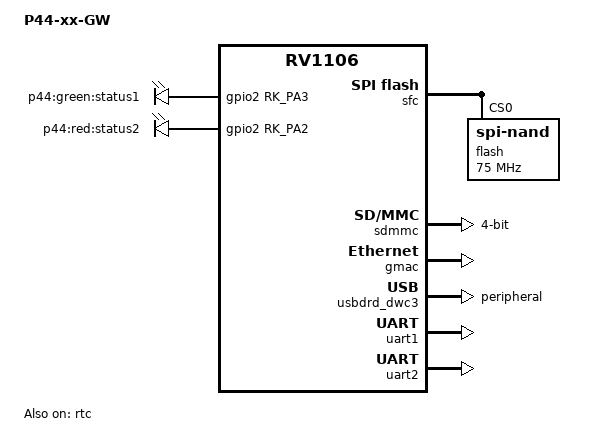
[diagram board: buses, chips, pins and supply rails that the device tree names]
// SPDX-License-Identifier: (GPL-2.0+ OR MIT)
/*
 * Copyright (c) 2022 Rockchip Electronics Co., Ltd.
 */

/dts-v1/;

#include "rv1106.dtsi"
#include "rv1106-evb.dtsi"
#include "rv1106-luckfox-pico-pro-max-ipc.dtsi"

/ {
	model = "P44-xx-GW";
	compatible = "plan44,p44-xx-pico-max", "luckfox,rv1106-luckfox-pico-max", "rockchip,rv1106";

	leds {
		compatible = "gpio-leds";

		status1 {
			label = "p44:green:status1";
			gpios = <&gpio2 RK_PA3 GPIO_ACTIVE_HIGH>;
			default-state = "on";
		};

		status2 {
			label = "p44:red:status2";
			gpios = <&gpio2 RK_PA2 GPIO_ACTIVE_HIGH>;
			default-state = "on";
		};

	};

};



/**********FLASH**********/
&sfc {
	status = "okay";
	flash@0 {
		compatible = "spi-nand";
		reg = <0>;
		spi-max-frequency = <75000000>;
		spi-rx-bus-width = <4>;
		spi-tx-bus-width = <1>;
	};
};

/**********SDMMC**********/
&sdmmc {
	max-frequency = <50000000>;
	no-sdio;
	no-mmc;
	bus-width = <4>;
	cap-mmc-highspeed;
	cap-sd-highspeed;
	disable-wp;
	pinctrl-names = "default";
	pinctrl-0 = <&sdmmc0_clk &sdmmc0_cmd &sdmmc0_det &sdmmc0_bus4>;
	status = "okay";
};

/**********SDIO**********/
// &sdio {
// 	max-frequency = <50000000>;
// 	no-sdio;
// 	no-mmc;
// 	bus-width = <4>;
// 	cap-mmc-highspeed;
// 	cap-sd-highspeed;
// 	disable-wp;
// 	pinctrl-names = "default";
// 	pinctrl-0 = <&sdmmc1m0_cmd &sdmmc1m0_clk &sdmmc1m0_bus4 &clk_32k>;
// 	status = "okay";
// };

/**********ETH**********/
&gmac {
	status = "okay";
};

/**********USB**********/
&usbdrd_dwc3 {
	status = "okay";
	dr_mode = "peripheral";
};

/**********I2C**********/
// i2c1 is available on p44mini-xx-gw Grove J17 (M1) -> disabled here, can be enabled with overlays
// &i2c1 {
// 	status = "okay";
// 	pinctrl-0 = <&i2c1m1_xfer>;
// 	clock-frequency = <100000>;
// };

// i2c3 is available on p44mini-xx-gw at Grove J16 (M0) or UEXT (M1) -> disabled here, can be enabled with overlays
// &i2c3 {
// 	status = "okay";
// 	pinctrl-0 = <&i2c3m1_xfer>;
// 	clock-frequency = <100000>;
// };

// /**********SPI**********/
// spi0 is available on p44mini-xx-gw at UEXT (M0) -> disabled here, can be enabled with overlays
// &spi0 {
// 	status = "okay";
// 	pinctrl-names = "default";
// 	pinctrl-0 = <&spi0m0_pins>;
// 	cs-gpios = <&gpio1 RK_PC0 1>;
// 	// cs-gpios = <&gpio1 26 1>;
// 	#address-cells = <1>;
// 	#size-cells = <0>;
// 	spidev@0 {
// 		compatible = "rockchip,spidev";
// 		spi-max-frequency = <50000000>;
// 		reg = <0>;
// 	};
// };



/**********UART**********/

// &uart0 {
// 	status = "okay";
// 	pinctrl-names = "default";
// 	pinctrl-0 = <&uart0m1_xfer>;
// };

// for now, enable this to always the option for LED output on J11 or RS485 on J14
&uart1 {
	status = "okay";
	pinctrl-names = "default";
	pinctrl-0 = <&uart1m1_xfer>;
};

// SoC debug UART
&uart2 {
	status = "okay";
	pinctrl-names = "default";
	pinctrl-0 = <&uart2m1_xfer>;
};


// other UARTs must be enabled via overlays when needed
// &uart3 {
// 	status = "okay";
// 	pinctrl-names = "default";
// 	pinctrl-0 = <&uart3m1_xfer>;
// };
// &uart4 {
// 	status = "okay";
// 	pinctrl-names = "default";
// 	pinctrl-0 = <&uart4m1_xfer>;
// };


// /**********PWM**********/

// &pwm0 {
// 	status = "okay";
// 	pinctrl-names = "active";
// 	pinctrl-0 = <&pwm0m0_pins>;
// 	// pinctrl-0 = <&pwm0m1_pins>;
// };
// &pwm1 {
// 	status = "okay";
// 	pinctrl-names = "active";
// 	pinctrl-0 = <&pwm1m0_pins>;
// 	// pinctrl-0 = <&pwm1m1_pins>;
// };

//&pwm2 {
//	status = "okay";
//	pinctrl-names = "active";
//	pinctrl-0 = <&pwm2m2_pins>;
//};
//&pwm3 {
//	status = "okay";
//	pinctrl-names = "active";
//	pinctrl-0 = <&pwm3m2_pins>;
//};
//&pwm4 {
//	status = "okay";
//	pinctrl-names = "active";
//	pinctrl-0 = <&pwm4m2_pins>;
//};

// when needed, enable via overlays
// &pwm5 {
// 	status = "okay";
// 	pinctrl-names = "active";
// 	pinctrl-0 = <&pwm5m1_pins>;
// 	// pinctrl-0 = <&pwm5m2_pins>;
// };
// &pwm6 {
// 	status = "okay";
// 	pinctrl-names = "active";
// 	pinctrl-0 = <&pwm6m1_pins>;
// 	// pinctrl-0 = <&pwm6m2_pins>;
// };

//&pwm7 {
//	status = "okay";
//	pinctrl-names = "active";
//	pinctrl-0 = <&pwm7m2_pins>;
//};
//&pwm8 {
//	status = "okay";
//	pinctrl-names = "active";
//	// pinctrl-0 = <&pwm8m1_pins>;
//	pinctrl-0 = <&pwm8m0_pins>;
//};
//&pwm9 {
//	status = "okay";
//	pinctrl-names = "active";
//	// pinctrl-0 = <&pwm9m1_pins>;
//	pinctrl-0 = <&pwm9m0_pins>;
//};

// possibly enable via overlays
// &pwm10 {
// 	status = "okay";
// 	pinctrl-names = "active";
// 	pinctrl-0 = <&pwm10m1_pins>; // LED_EN
// 	// pinctrl-0 = <&pwm10m2_pins>; // Button
// 	// pinctrl-0 = <&pwm10m0_pins>; // not available
// };
// &pwm11 {
// 	status = "okay";
// 	pinctrl-names = "active";
// 	pinctrl-0 = <&pwm11m1_pins>; // N.C. in P44-xxm-GW
// 	// pinctrl-0 = <&pwm11m2_pins>; // UEXT
// 	// pinctrl-0 = <&pwm11m0_pins>; // UART1_RX not exposed
// };


&rtc {
	status = "okay";
};


